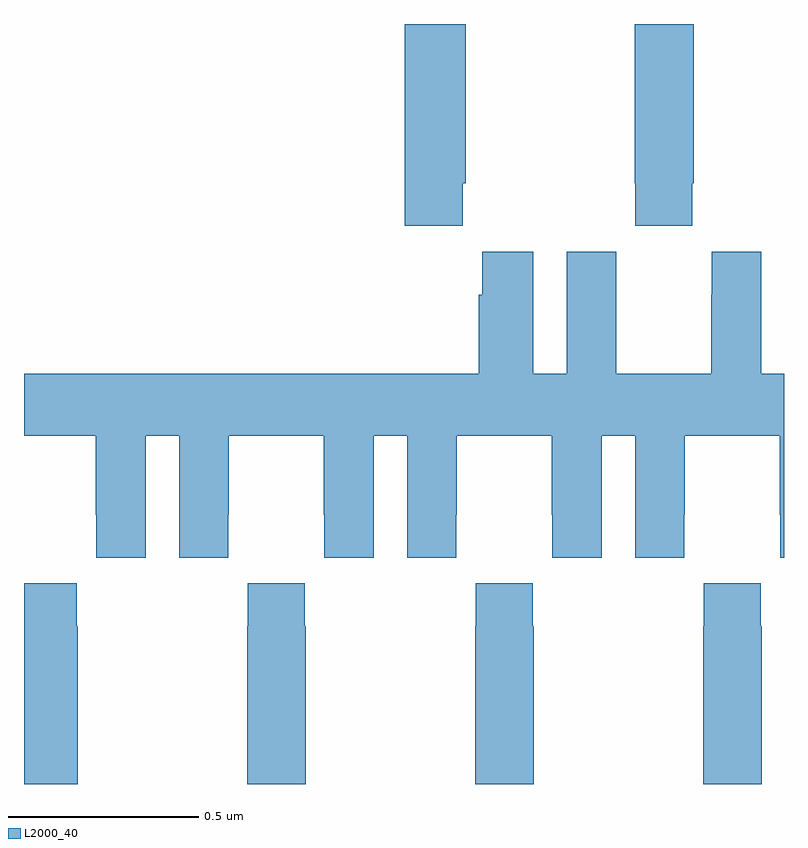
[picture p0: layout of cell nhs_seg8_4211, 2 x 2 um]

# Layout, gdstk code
import gdstk
lib = gdstk.Library(unit=1e-6, precision=1e-09)
def P(c, l, *ps):  # polygons
    for p in ps: c.add(gdstk.Polygon(p, *l))
L2000_40 = (2000, 40)

nhs_seg8_4211 = lib.new_cell('nhs_seg8_4211')
P(nhs_seg8_4211, L2000_40, [(168.155,1134.481),(168.162,1134.481),(168.162,1134.9),(168.002,1134.9),(168.002,1134.369),(168.155,1134.369)],
  [(168.759,1134.481),(168.762,1134.481),(168.762,1134.9),(168.607,1134.9),(168.607,1134.481),(168.609,1134.481),(168.609,1134.369),(168.759,1134.369)],
  [(167.32,1133.816),(167.408,1133.816),(167.408,1133.496),(167.538,1133.496),(167.538,1133.608),(167.539,1133.608),(167.539,1133.816),(167.789,1133.816),(167.789,1133.608),(167.79,1133.608),(167.79,1133.496),(167.92,1133.496),(167.92,1133.816),(168.008,1133.816),(168.008,1133.496),(168.138,1133.496),(168.138,1133.608),(168.139,1133.608),(168.139,1133.816),(168.389,1133.816),(168.389,1133.608),(168.39,1133.608),(168.39,1133.496),(168.52,1133.496),(168.52,1133.816),(168.608,1133.816),(168.608,1133.496),(168.738,1133.496),(168.738,1133.608),(168.739,1133.608),(168.739,1133.816),(168.989,1133.816),(168.989,1133.608),(168.99,1133.608),(168.99,1133.496),(169,1133.496),(169,1133.98),(168.94,1133.98),(168.94,1134.301),(168.81,1134.301),(168.81,1134.188),(168.809,1134.188),(168.809,1133.98),(168.559,1133.98),(168.559,1134.188),(168.558,1134.188),(168.558,1134.301),(168.428,1134.301),(168.428,1133.98),(168.34,1133.98),(168.34,1134.301),(168.206,1134.301),(168.206,1134.188),(168.197,1134.188),(168.197,1133.98),(167,1133.98),(167,1133.816),(167.189,1133.816),(167.189,1133.608),(167.19,1133.608),(167.19,1133.496),(167.32,1133.496)],
  [(167.742,1133.315),(167.739,1133.315),(167.739,1133.428),(167.589,1133.428),(167.589,1133.315),(167.587,1133.315),(167.587,1132.9),(167.742,1132.9)],
  [(168.342,1133.315),(168.339,1133.315),(168.339,1133.428),(168.189,1133.428),(168.189,1133.315),(168.187,1133.315),(168.187,1132.9),(168.342,1132.9)],
  [(167.142,1133.315),(167.139,1133.315),(167.139,1133.428),(167,1133.428),(167,1132.9),(167.142,1132.9)],
  [(168.789,1133.428),(168.789,1133.315),(168.787,1133.315),(168.787,1132.9),(168.942,1132.9),(168.942,1133.315),(168.939,1133.315),(168.939,1133.428)])

lib.write_gds('nhs_seg8_4211.gds')
